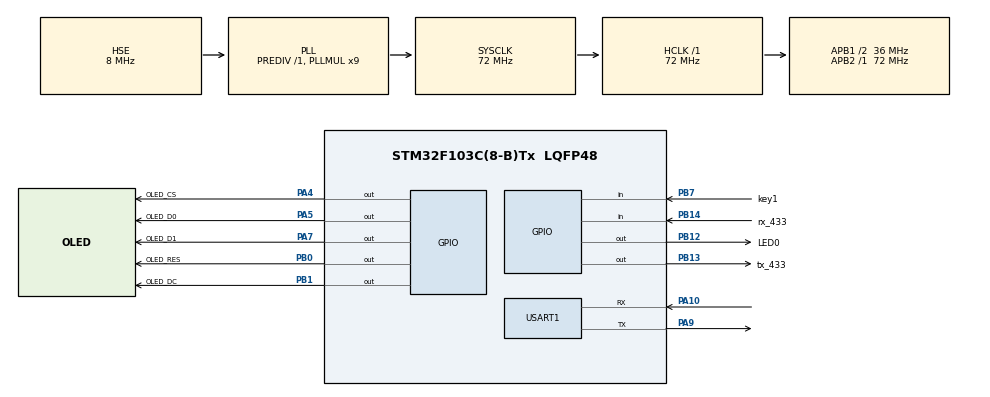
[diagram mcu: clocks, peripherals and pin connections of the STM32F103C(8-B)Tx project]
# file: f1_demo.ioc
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FREERTOS.Queues01=keyNum,16,uint16_t,0,Dynamic,NULL,NULL
FREERTOS.Tasks01=defaultTask,0,128,StartDefaultTask,Default,NULL,Dynamic,NULL,NULL;KEY_SCAN,0,128,KeyScanTask02,Default,NULL,Dynamic,NULL,NULL;KEY_MENU,-1,128,Key_MenuTask03,Default,NULL,Dynamic,NULL,NULL
Mcu.Family=STM32F1
Mcu.Name=STM32F103C(8-B)Tx
Mcu.Package=LQFP48
NVIC.PriorityGroup=NVIC_PRIORITYGROUP_4
NVIC.TIM2_IRQn=true\:0\:0\:false\:false\:true\:false\:false\:true
NVIC.TIM3_IRQn=true\:5\:0\:false\:false\:true\:true\:true\:true
NVIC.TimeBase=TIM2_IRQn
NVIC.TimeBaseIP=TIM2
PA10.Mode=Asynchronous
PA10.Signal=USART1_RX
PA13.Mode=JTAG_4_pins
PA13.Signal=SYS_JTMS-SWDIO
PA14.Mode=JTAG_4_pins
PA14.Signal=SYS_JTCK-SWCLK
PA15.Mode=JTAG_4_pins
PA15.Signal=SYS_JTDI
PA4.GPIO_Label=OLED_CS
PA4.Signal=GPIO_Output
PA5.GPIO_Label=OLED_D0
PA5.Signal=GPIO_Output
PA7.GPIO_Label=OLED_D1
PA7.Signal=GPIO_Output
PA9.Mode=Asynchronous
PA9.Signal=USART1_TX
PB0.GPIO_Label=OLED_RES
PB0.Signal=GPIO_Output
PB1.GPIO_Label=OLED_DC
PB1.Signal=GPIO_Output
PB12.GPIO_Label=LED0
PB12.Signal=GPIO_Output
PB13.GPIO_Label=tx_433
PB13.Signal=GPIO_Output
PB14.GPIO_Label=rx_433
PB14.Signal=GPIO_Input
PB3.Mode=JTAG_4_pins
PB3.Signal=SYS_JTDO-TRACESWO
PB7.GPIO_Label=key1
PB7.GPIO_PuPd=GPIO_PULLUP
PB7.Signal=GPIO_Input
PD0-OSC_IN.Mode=HSE-External-Oscillator
PD0-OSC_IN.Signal=RCC_OSC_IN
PD1-OSC_OUT.Mode=HSE-External-Oscillator
PD1-OSC_OUT.Signal=RCC_OSC_OUT
ProjectManager.HeapSize=0x200
ProjectManager.StackSize=0x400
ProjectManager.TargetToolchain=SW4STM32
RCC.AHBFreq_Value=72000000
RCC.APB1CLKDivider=RCC_HCLK_DIV2
RCC.APB1Freq_Value=36000000
RCC.APB1TimFreq_Value=72000000
RCC.APB2Freq_Value=72000000
RCC.APB2TimFreq_Value=72000000
RCC.HCLKFreq_Value=72000000
RCC.PLLMUL=RCC_PLL_MUL9
RCC.PLLSourceVirtual=RCC_PLLSOURCE_HSE
RCC.SYSCLKFreq_VALUE=72000000
RCC.SYSCLKSource=RCC_SYSCLKSOURCE_PLLCLK
RCC.USBFreq_Value=72000000
TIM3.Period=99
TIM3.Prescaler=71
USART1.VirtualMode=VM_ASYNC
VP_FREERTOS_VS_CMSIS_V1.Mode=CMSIS_V1
VP_SYS_VS_tim2.Mode=TIM2
VP_TIM3_VS_ClockSourceINT.Mode=Internal
board=custom

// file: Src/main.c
/* USER CODE BEGIN Header */
/**
  ******************************************************************************
  * @file           : main.c
  * @brief          : Main program body
  ******************************************************************************
  * @attention
  *
  * <h2><center>&copy; Copyright (c) 2020 STMicroelectronics.
  * All rights reserved.</center></h2>
  *
  * This software component is licensed by ST under BSD 3-Clause license,
  * the "License"; You may not use this file except in compliance with the
  * License. You may obtain a copy of the License at:
  *                        opensource.org/licenses/BSD-3-Clause
  *
  ******************************************************************************
  */
/* USER CODE END Header */

#include "main.h"
#include "cmsis_os.h"
#include "tim.h"
#include "usart.h"
#include "gpio.h"

/* USER CODE BEGIN Includes */
#include "Tx433Lin.h"
#include "Control.h"
#include "oled.h"
#include "Tx433Remote.h"
#include "keeloq_lock.h"
#include "bmp.h"
#include "stdio.h"
/* USER CODE END Includes */

/* USER CODE BEGIN PTD */
/*printf*/
#if 1
int _write(int fd, char *ptr, int len)
{
    HAL_UART_Transmit(&huart1, (uint8_t*)ptr, len, 0xFFFF);
    return len;
}
#endif
/* USER CODE END PTD */

void SystemClock_Config(void);
void MX_FREERTOS_Init(void);

int main(void)
{

  /* MCU Configuration--------------------------------------------------------*/

  /* Reset of all peripherals, Initializes the Flash interface and the Systick. */
  HAL_Init();

  /* Configure the system clock */
  SystemClock_Config();

  /* Initialize all configured peripherals */
  MX_GPIO_Init();
  MX_TIM3_Init();
  MX_USART1_UART_Init();
  printf("abc\r\n");
  /* USER CODE BEGIN 2 */
//    OLED_Init();
//    OLED_ColorTurn(0);//0正常显示�?1 反色显示
//    OLED_DisplayTurn(0);//0正常显示 1 屏幕翻转显示
    NLF_DEFINE();
    AskInit();
    Tx433IrInit();
    HAL_TIM_Base_Start_IT(&htim3);
    HAL_GPIO_WritePin(GPIOB,GPIO_PIN_12,GPIO_PIN_SET);
  /* USER CODE END 2 */

  /* Call init function for freertos objects (in freertos.c) */
  MX_FREERTOS_Init();

  /* Start scheduler */
  osKernelStart();

  /* We should never get here as control is now taken by the scheduler */

  /* Infinite loop */
  while (1)
  {

    /* USER CODE BEGIN 3 */
//    KeyMenu();

  }
  /* USER CODE END 3 */
}

void SystemClock_Config(void)
{
  RCC_OscInitTypeDef RCC_OscInitStruct = {0};
  RCC_ClkInitTypeDef RCC_ClkInitStruct = {0};

  /** Initializes the CPU, AHB and APB busses clocks
  */
  RCC_OscInitStruct.OscillatorType = RCC_OSCILLATORTYPE_HSE;
  RCC_OscInitStruct.HSEState = RCC_HSE_ON;
  RCC_OscInitStruct.HSEPredivValue = RCC_HSE_PREDIV_DIV1;
  RCC_OscInitStruct.HSIState = RCC_HSI_ON;
  RCC_OscInitStruct.PLL.PLLState = RCC_PLL_ON;
  RCC_OscInitStruct.PLL.PLLSource = RCC_PLLSOURCE_HSE;
  RCC_OscInitStruct.PLL.PLLMUL = RCC_PLL_MUL9;
  if (HAL_RCC_OscConfig(&RCC_OscInitStruct) != HAL_OK)
  {
    Error_Handler();
  }
  /** Initializes the CPU, AHB and APB busses clocks
  */
  RCC_ClkInitStruct.ClockType = RCC_CLOCKTYPE_HCLK|RCC_CLOCKTYPE_SYSCLK
                              |RCC_CLOCKTYPE_PCLK1|RCC_CLOCKTYPE_PCLK2;
  RCC_ClkInitStruct.SYSCLKSource = RCC_SYSCLKSOURCE_PLLCLK;
  RCC_ClkInitStruct.AHBCLKDivider = RCC_SYSCLK_DIV1;
  RCC_ClkInitStruct.APB1CLKDivider = RCC_HCLK_DIV2;
  RCC_ClkInitStruct.APB2CLKDivider = RCC_HCLK_DIV1;

  if (HAL_RCC_ClockConfig(&RCC_ClkInitStruct, FLASH_LATENCY_2) != HAL_OK)
  {
    Error_Handler();
  }
}

void HAL_TIM_PeriodElapsedCallback(TIM_HandleTypeDef *htim)
{
  if (htim->Instance == TIM2) {
    HAL_IncTick();
  }
}

void Error_Handler(void)
{
}

/************************ (C) COPYRIGHT STMicroelectronics *****END OF FILE****/

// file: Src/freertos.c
/* USER CODE BEGIN Header */
/**
  ******************************************************************************
  * File Name          : freertos.c
  * Description        : Code for freertos applications
  ******************************************************************************
  * @attention
  *
  * <h2><center>&copy; Copyright (c) 2020 STMicroelectronics.
  * All rights reserved.</center></h2>
  *
  * This software component is licensed by ST under Ultimate Liberty license
  * SLA0044, the "License"; You may not use this file except in compliance with
  * the License. You may obtain a copy of the License at:
  *                             www.st.com/SLA0044
  *
  ******************************************************************************
  */
/* USER CODE END Header */

#include "FreeRTOS.h"
#include "task.h"
#include "main.h"
#include "cmsis_os.h"

/* USER CODE BEGIN Includes */

#include "stdio.h"
#include "KeyBoard.h"
/* USER CODE END Includes */

osThreadId defaultTaskHandle;
osThreadId KEY_SCANHandle;
osThreadId KEY_MENUHandle;
osMessageQId keyNumHandle;

void StartDefaultTask(void const * argument);
void KeyScanTask02(void const * argument);
void Key_MenuTask03(void const * argument);

void MX_FREERTOS_Init(void); /* (MISRA C 2004 rule 8.1) */

/* GetIdleTaskMemory prototype (linked to static allocation support) */
void vApplicationGetIdleTaskMemory( StaticTask_t **ppxIdleTaskTCBBuffer, StackType_t **ppxIdleTaskStackBuffer, uint32_t *pulIdleTaskStackSize );

/* USER CODE BEGIN GET_IDLE_TASK_MEMORY */
static StaticTask_t xIdleTaskTCBBuffer;
static StackType_t xIdleStack[configMINIMAL_STACK_SIZE];

void vApplicationGetIdleTaskMemory( StaticTask_t **ppxIdleTaskTCBBuffer, StackType_t **ppxIdleTaskStackBuffer, uint32_t *pulIdleTaskStackSize )
{
  *ppxIdleTaskTCBBuffer = &xIdleTaskTCBBuffer;
  *ppxIdleTaskStackBuffer = &xIdleStack[0];
  *pulIdleTaskStackSize = configMINIMAL_STACK_SIZE;
  /* place for user code */
}
/* USER CODE END GET_IDLE_TASK_MEMORY */

void MX_FREERTOS_Init(void) {

  /* Create the queue(s) */
  /* definition and creation of keyNum */
  osMessageQDef(keyNum, 16, uint16_t);
  keyNumHandle = osMessageCreate(osMessageQ(keyNum), NULL);

  /* Create the thread(s) */
  /* definition and creation of defaultTask */
  osThreadDef(defaultTask, StartDefaultTask, osPriorityNormal, 0, 128);
  defaultTaskHandle = osThreadCreate(osThread(defaultTask), NULL);

  /* definition and creation of KEY_SCAN */
  osThreadDef(KEY_SCAN, KeyScanTask02, osPriorityNormal, 0, 128);
  KEY_SCANHandle = osThreadCreate(osThread(KEY_SCAN), NULL);

  /* definition and creation of KEY_MENU */
  osThreadDef(KEY_MENU, Key_MenuTask03, osPriorityBelowNormal, 0, 128);
  KEY_MENUHandle = osThreadCreate(osThread(KEY_MENU), NULL);

}

void StartDefaultTask(void const * argument)
{
  for(;;)
  {
    osDelay(1);
  }
}

void KeyScanTask02(void const * argument)
{
  /* USER CODE BEGIN KeyScanTask02 */
  u16 key_num;
    osStatus test;
  /* Infinite loop */
  for(;;)
  {
//      LED0_Tog;
//      printf("1111111\r\n");
      key_num = KeyScan();
      if(key_num)
      {
          test =  osMessagePut (keyNumHandle,key_num, 0);
          if(test != osOK){
              printf("Could not send to the queue\r\n");
          }
          key_num = 0;
      }
      osDelay(20);
  }
  /* USER CODE END KeyScanTask02 */
}

void Key_MenuTask03(void const * argument)
{
  /* USER CODE BEGIN Key_MenuTask03 */
    osEvent ev;
  /* Infinite loop */
  for(;;)
  {
    if(osMessageWaiting(keyNumHandle) != 0){
        printf("Queue should have benne empty\r\n");
    }

    ev =osMessageGet(keyNumHandle,100);
    if(ev.status == osEventMessage){
        printf("rec = %d\r\n",ev.value.v);
    }
    else{
        printf("Could not recviced from the quueue\r\n");
    }
  }
  /* USER CODE END Key_MenuTask03 */
}

/************************ (C) COPYRIGHT STMicroelectronics *****END OF FILE****/
